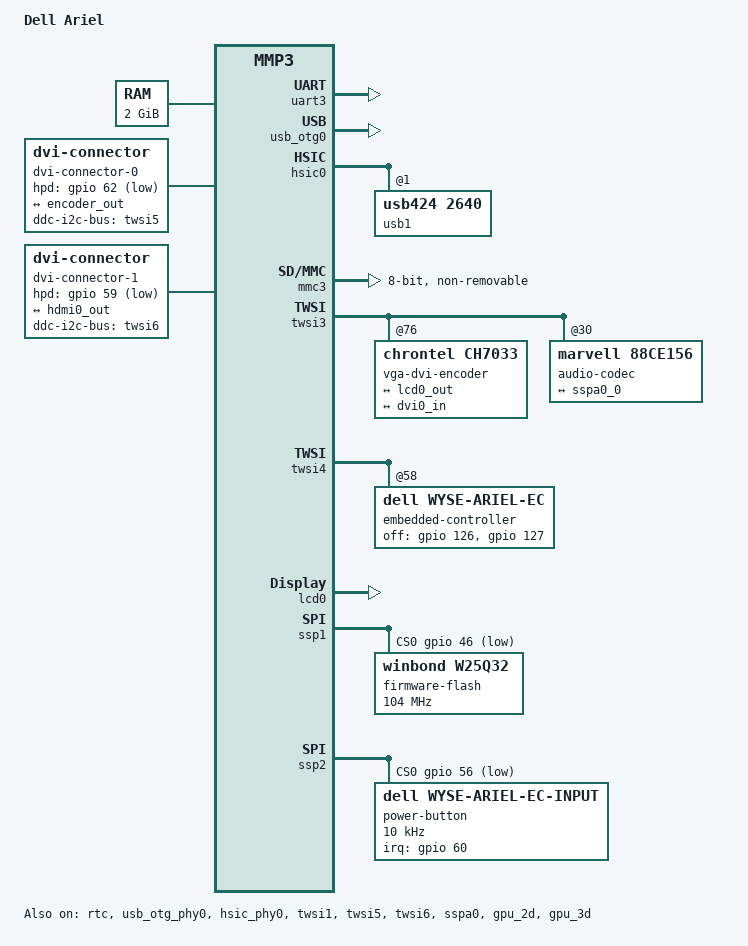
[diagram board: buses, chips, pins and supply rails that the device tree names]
// SPDX-License-Identifier: GPL-2.0-or-later OR MIT
/*
 * Dell Wyse 3020 a.k.a. "Ariel" a.k.a. Tx0D (T00D, T10D)
 *
 * Copyright (C) 2019,2020 Lubomir Rintel <lkundrak@v3.sk>
 */

/dts-v1/;
#include "mmp3.dtsi"
#include <dt-bindings/gpio/gpio.h>
#include <dt-bindings/interrupt-controller/irq.h>

/ {
	model = "Dell Ariel";
	compatible = "dell,wyse-ariel", "marvell,mmp3";

	aliases {
		serial2 = &uart3;
	};

	chosen {
		#address-cells = <0x1>;
		#size-cells = <0x1>;
		ranges;
		bootargs = "console=tty0 earlyprintk=ttyS2,115200 console=ttyS2,115200 root=/dev/sda3 fbcon=nodefer rootwait lockless_register_fb";
		/* bootargs = "console=tty0 earlyprintk=ttyS2,115200 console=ttyS2,115200 root=/dev/sda3 fbcon=nodefer rootwait debug ignore_loglevel drm.debug=65535"; */
	};

	memory@0 {
		available = <0x7f700000 0x7ff00000 0x00000000 0x7f600000>;
		reg = <0x0 0x80000000>;
		device_type = "memory";
	};

	reserved-memory {
		#address-cells = <1>;
		#size-cells = <1>;
		ranges;

		display_reserved: framebuffer {
			compatible = "marvell,mmp2-framebuffer",
				     "marvell,armada-framebuffer";
			size = <0x02000000>;
			alignment = <0x02000000>;
			no-map;
		};
	};

	dvi-connector-0 {
		compatible = "dvi-connector";
		ddc-i2c-bus = <&twsi5>;
		hpd-gpios = <&gpio 62 GPIO_ACTIVE_LOW>;
		digital;
		analog;

		port {
			dvi0_in: endpoint {
				remote-endpoint = <&encoder_out>;
			};
		};
	};

	dvi-connector-1 {
		compatible = "dvi-connector";
		ddc-i2c-bus = <&twsi6>;
		hpd-gpios = <&gpio 59 GPIO_ACTIVE_LOW>;
		digital;

		port {
			dvi1_in: endpoint {
				remote-endpoint = <&hdmi0_out>;
			};
		};
	};

	sound-card {
		compatible = "audio-graph-card";
		label = "Dell Ariel";
		dais = <&sspa0_dai>;
		routing = "Headphones", "HPL",
			  "Headphones", "HPR",
			  "Speaker External", "SPKLN",
			  "Speaker External", "SPKLP",
			  "Speaker External", "SPKRN",
			  "Speaker External", "SPKRP",
			  "MIC1N", "Mic Jack",
			  "MIC1P", "Mic Jack";
		widgets = "Headphone", "Headphones",
			  "Speaker", "Speaker External",
			  "Microphone", "Mic Jack";
	};
};

&uart3 {
	status = "okay";
	pinctrl-names = "default";
	pinctrl-0 = <&uart3_pins>;
};

&rtc {
	status = "okay";
};

&usb_otg0 {
	status = "okay";
};

&usb_otg_phy0 {
	status = "okay";
};

&hsic0 {
	status = "okay";

	usb1@1 {
		compatible = "usb424,2640";
		reg = <0x01>;
		#address-cells = <0x01>;
		#size-cells = <0x00>;

		mass-storage@1 {
			compatible = "usb424,4040";
			reg = <0x01>;
			status = "disabled";
		};
	};
};

&hsic_phy0 {
	status = "okay";
	reset-gpios = <&gpio 63 GPIO_ACTIVE_HIGH>;
};

&mmc3 {
	status = "okay";
	pinctrl-names = "default";
	pinctrl-0 = <&mmc3_pins>;
	max-frequency = <50000000>;
	status = "okay";
	bus-width = <8>;
	non-removable;
	cap-mmc-highspeed;
};

&twsi1 {
	status = "okay";
	pinctrl-names = "default";
	pinctrl-0 = <&twsi1_pins>;

	rtc@68 {
		compatible = "dallas,ds1338";
		reg = <0x68>;
		status = "okay";
	};

	regulator@19 {
		compatible = "marvell,88pg867";
		reg = <0x19>;

		vcpu: buck1 {
			regulator-name = "vdd_1v8";
			regulator-min-microvolt = <1800000>;
			regulator-max-microvolt = <1800000>;
			regulator-boot-on;
			regulator-always-on;
		};
	};
};

&twsi3 {
	status = "okay";
	pinctrl-names = "default";
	pinctrl-0 = <&twsi3_pins>;

	vga-dvi-encoder@76 {
		compatible = "chrontel,ch7033";
		reg = <0x76>;

		ports {
			#address-cells = <1>;
			#size-cells = <0>;

			port@0 {
				reg = <0>;
				encoder_in: endpoint {
					remote-endpoint = <&lcd0_out>;
				};
			};

			port@1 {
				reg = <1>;
				encoder_out: endpoint {
					remote-endpoint = <&dvi0_in>;
				};
			};
		};
	};

	audio-codec@30 {
		compatible = "marvell,88ce156";
		reg = <0x30>;

		port {
			ce156_0: endpoint {
				mclk-fs = <256>;
				clocks = <&audio_clk 0>;
				remote-endpoint = <&sspa0_0>;
			};
		};
	};
};

&twsi4 {
	status = "okay";
	pinctrl-names = "default";
	pinctrl-0 = <&twsi4_pins>;

	embedded-controller@58 {
		compatible = "dell,wyse-ariel-ec", "ene,kb3930";
		reg = <0x58>;
		system-power-controller;

		off-gpios = <&gpio 126 GPIO_ACTIVE_HIGH>,
			    <&gpio 127 GPIO_ACTIVE_HIGH>;
	};
};

&twsi5 {
	status = "okay";
};

&twsi6 {
	status = "okay";
};

&twsi6 {
	status = "okay";
	pinctrl-names = "default";
	pinctrl-0 = <&twsi6_pins>;
};

&lcd0 {
	status = "okay";
};

&lcd0_out {
	remote-endpoint = <&encoder_in>;
};

&hdmi0_out {
	remote-endpoint = <&dvi1_in>;
};

&ssp1 {
	status = "okay";
	pinctrl-names = "default";
	pinctrl-0 = <&ssp1_pins>;
	cs-gpios = <&gpio 46 GPIO_ACTIVE_LOW>;

	firmware-flash@0 {
		compatible = "winbond,w25q32", "jedec,spi-nor";
		reg = <0>;
		spi-max-frequency = <104000000>;
		m25p,fast-read;
	};
};

&ssp2 {
	status = "okay";
	cs-gpios = <&gpio 56 GPIO_ACTIVE_LOW>;
	pinctrl-names = "default";
	pinctrl-0 = <&ssp2_pins>;

	power-button@0 {
		reg = <0>;
		interrupt-parent = <&gpio>;
		interrupts = <60 IRQ_TYPE_EDGE_RISING>;
		compatible = "dell,wyse-ariel-ec-input", "ene,kb3930-input";
		//spi-max-frequency = <33000000>;
		spi-max-frequency = <10000>; // 00
	};
};

&asram {
	status = "okay";
};

&adma0 {
	status = "okay";
};

&audio_clk {
	status = "okay";
};

&sspa0 {
	status = "okay";
	dmas = <&adma0 0>, <&adma0 1>;
	dma-names = "tx", "rx";

	sspa0_dai: port {
		sspa0_0: endpoint {
			remote-endpoint = <&ce156_0>;
			frame-master;
			bitclock-master;
			dai-format = "i2s";
		};
	};
};

&gpu_2d {
	status = "okay";
};

&gpu_3d {
	status = "okay";
};

&pinctrl {
	pinctrl-names = "default";
	pinctrl-0 = <&my_lovely_pins>;

	my_lovely_pins: pinmux_my_lovely_pins {
		pinctrl-single,pins =
			// I2S on GPIO24-GPIO28
			//        /* SSPA1 (I2S) */
			//        GPIO25_I2S_BITCLK,
			//        GPIO26_I2S_SYNC,
			//        GPIO27_I2S_DATA_OUT,
			//        GPIO28_I2S_SDATA_IN,
			<0x0b4 1>, <0x0b8 1>, <0x0bc 1>, <0x0c0 1>, <0x0c4 1>,
			// I2S on GPIO33-GPIO36
			<0x0d8 2>, <0x0dc 2>, <0x0e0 2>, <0x0e4 2>,
			// GPIO on GPIO156-GPIO159 instead of JTAG (doesn't work, stays on 0x000090C0)
			<0x14c 1>, <0x150 1>, <0x154 1>, <0x158 1>;
	};

	uart3_pins: pinmux_uart3_pins {
		pinctrl-single,pins = <0x120 1>, <0x124 1>;
	};

	mmc3_pins: pinmux_mmc3_pins {
		pinctrl-single,pins = <0x200 2>, <0x204 2>, <0x208 2>, <0x20c 2>;
	};

	twsi1_pins: pinmux_twsi1_pins {
		pinctrl-single,pins = <0x140 0>, <0x144 0>;
	};

	twsi3_pins: pinmux_twsi3_pins {
		pinctrl-single,pins = <0x2b0 1>, <0x2b4 1>;
	};

	twsi4_pins: pinmux_twsi4_pins {
		pinctrl-single,pins = <0x2bc 0>, <0x2c0 0>;
	};

	twsi5_pins: pinmux_twsi5_pins {
		pinctrl-single,pins = <0x0f8 2>, <0x0fc 2>;
	};

	twsi6_pins: pinmux_twsi6_pins {
		pinctrl-single,pins = <0x110 3>, <0x114 3>;
	};

	lcd0_pins: pinmux_lcd0_pins {
		pinctrl-single,pins = <0x170 1>, <0x174 1>, <0x178 1>, <0x17c 1>,
				      <0x180 1>, <0x184 1>, <0x188 1>, <0x18c 1>,
				      <0x190 1>, <0x194 1>, <0x198 1>, <0x19c 1>,
				      <0x1a0 1>, <0x1a4 1>, <0x1a8 1>, <0x1ac 1>,
				      <0x1b0 1>, <0x1b4 1>, <0x1b8 1>, <0x1bc 1>,
				      <0x1c0 1>, <0x1c4 1>, <0x1c8 1>, <0x1cc 1>,
				      <0x1d0 1>, <0x1d4 1>, <0x1d8 1>, <0x1dc 1>;
	};

	ssp1_pins: pinmux_ssp1_pins {
		pinctrl-single,pins = <0x100 3>, <0x104 3>, <0x108 3>;
	};

	ssp2_pins: pinmux_ssp2_pins {
		//        /* ENE EC */
		//        ENE_KB_INT_GPIO_60,
		//        SPI2_CLK_GPIO_55,
		//        SPI2_FRM_GPIO_56,
		//        SPI2_RXD_GPIO_57,
		//        SPI2_TXD_GPIO_58,
		//        GPIO126_OFF1,
		//        GPIO127_OFF2,
		pinctrl-single,pins = <0x130 1>, <0x138 1>, <0x13c 1>;
	};
};
